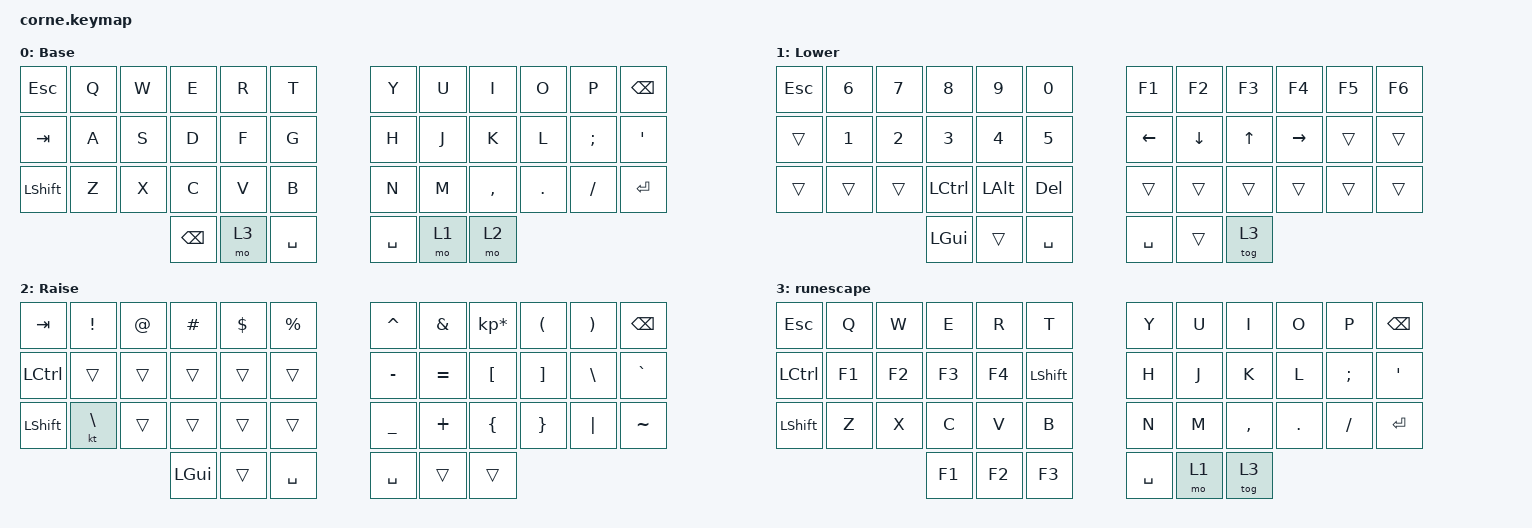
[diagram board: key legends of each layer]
/*
 * Copyright (c) 2020 The ZMK Contributors
 *
 * SPDX-License-Identifier: MIT
 */

#include <behaviors.dtsi>
#include <dt-bindings/zmk/keys.h>

/ {
    keymap {
        compatible = "zmk,keymap";

        Base_Gaming {
            // -----------------------------------------------------------------------------------------
            // |  TAB |  Q  |  W  |  E  |  R  |  T  |   |  Y  |  U   |  I  |  O  |  P  | BKSP |
            // | CTRL |  A  |  S  |  D  |  F  |  G  |   |  H  |  J   |  K  |  L  |  ;  |  '   |
            // | SHFT |  Z  |  X  |  C  |  V  |  B  |   |  N  |  M   |  ,  |  .  |  /  | ESC  |
            //                    | GUI | LWR | SPC |   | ENT | RSE  | ALT |

            display-name = "Base";
            bindings = <
&kp ESC    &kp Q  &kp W  &kp E          &kp R  &kp T        &kp Y      &kp U  &kp I      &kp O    &kp P     &kp BSPC
&kp TAB    &kp A  &kp S  &kp D          &kp F  &kp G        &kp H      &kp J  &kp K      &kp L    &kp SEMI  &kp SQT
&kp LSHFT  &kp Z  &kp X  &kp C          &kp V  &kp B        &kp N      &kp M  &kp COMMA  &kp DOT  &kp FSLH  &kp ENTER
                         &kp BACKSPACE  &mo 3  &kp SPACE    &kp SPACE  &mo 1  &mo 2
            >;
        };

        Mo1 {
            // -----------------------------------------------------------------------------------------
            // |  TAB |  1  |  2  |  3  |  4  |  5  |   |  6  |  7  |  8  |  9  |  0  | BKSP |
            // | BTCLR| BT1 | BT2 | BT3 | BT4 | BT5 |   | LFT | DWN |  UP | RGT |     |      |
            // | SHFT |     |     |     |     |     |   |     |     |     |     |     |      |
            //                    | GUI |     | SPC |   | ENT |     | ALT |

            display-name = "Lower";
            bindings = <
&kp ESCAPE  &kp NUMBER_6  &kp N7        &kp N8            &kp N9        &kp N0        &kp F1     &kp F2    &kp F3  &kp F4     &kp F5  &kp F6
&trans      &kp NUMBER_1  &kp NUMBER_2  &kp NUMBER_3      &kp NUMBER_4  &kp N5        &kp LEFT   &kp DOWN  &kp UP  &kp RIGHT  &trans  &trans
&trans      &trans        &trans        &kp LEFT_CONTROL  &kp LEFT_ALT  &kp DELETE    &trans     &trans    &trans  &trans     &trans  &trans
                                        &kp LGUI          &trans        &kp SPACE     &kp SPACE  &trans    &tog 3
            >;
        };

        Mo2 {
            // -----------------------------------------------------------------------------------------
            // |  TAB |  !  |  @  |  #  |  $  |  %  |   |  ^  |  &  |  *  |  (  |  )  | BKSP |
            // | CTRL |     |     |     |     |     |   |  -  |  =  |  [  |  ]  |  \  |  `   |
            // | SHFT |     |     |     |     |     |   |  _  |  +  |  {  |  }  | "|" |  ~   |
            //                    | GUI |     | SPC |   | ENT |     | ALT |

            display-name = "Raise";
            bindings = <
&kp TAB    &kp EXCL       &kp AT  &kp HASH  &kp DLLR  &kp PRCNT    &kp CARET  &kp AMPS   &kp KP_MULTIPLY  &kp LPAR  &kp RPAR  &kp BSPC
&kp LCTRL  &trans         &trans  &trans    &trans    &trans       &kp MINUS  &kp EQUAL  &kp LBKT         &kp RBKT  &kp BSLH  &kp GRAVE
&kp LSHFT  &kt BACKSLASH  &trans  &trans    &trans    &trans       &kp UNDER  &kp PLUS   &kp LBRC         &kp RBRC  &kp PIPE  &kp TILDE
                                  &kp LGUI  &trans    &kp SPACE    &kp SPACE  &trans     &trans
            >;
        };

        runescape {
            bindings = <
&kp ESC           &kp Q   &kp W   &kp E   &kp R   &kp T             &kp Y      &kp U  &kp I      &kp O       &kp P          &kp BACKSPACE
&kp LEFT_CONTROL  &kp F1  &kp F2  &kp F3  &kp F4  &kp LEFT_SHIFT    &kp H      &kp J  &kp K      &kp L       &kp SEMICOLON  &kp SQT
&kp LEFT_SHIFT    &kp Z   &kp X   &kp C   &kp V   &kp B             &kp N      &kp M  &kp COMMA  &kp PERIOD  &kp SLASH      &kp ENTER
                                  &kp F1  &kp F2  &kp F3            &kp SPACE  &mo 1  &tog 3
            >;
        };
    };
};
